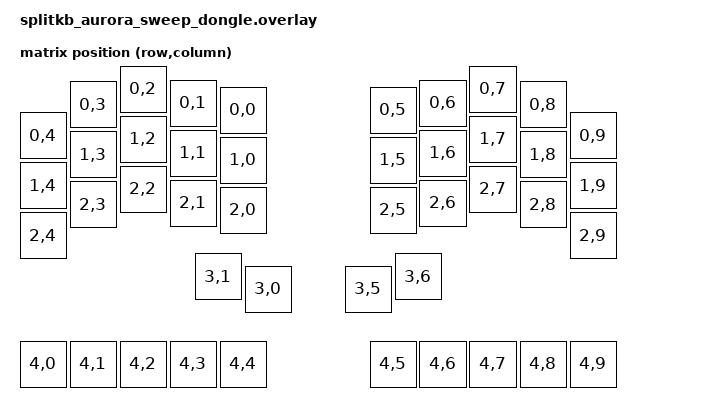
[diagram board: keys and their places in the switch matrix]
/*
 * Copyright (c) 2026 Splitkb.com
 *
 * SPDX-License-Identifier: MIT
 */

#include <physical_layouts.dtsi>
#include <dt-bindings/zmk/matrix_transform.h>

/ {
    chosen {
        zmk,kscan = &mock_kscan;
        zmk,physical-layout = &halcyon_layout;
    };

    mock_kscan: mock_kscan_0 {
        compatible = "zmk,kscan-mock";
        columns = <0>;
        rows = <0>;
        events = <0>;
    };

    halcyon_transform: keymap_transform_0 {
        compatible = "zmk,matrix-transform";
        columns = <10>;
        rows = <5>;
        map = <
        RC(0,4)  RC(0,3)  RC(0,2)  RC(0,1)  RC(0,0)  RC(0,5) RC(0,6) RC(0,7) RC(0,8) RC(0,9)
        RC(1,4)  RC(1,3)  RC(1,2)  RC(1,1)  RC(1,0)  RC(1,5) RC(1,6) RC(1,7) RC(1,8) RC(1,9)
        RC(2,4)  RC(2,3)  RC(2,2)  RC(2,1)  RC(2,0)  RC(2,5) RC(2,6) RC(2,7) RC(2,8) RC(2,9)
                                   RC(3,1)  RC(3,0)  RC(3,5) RC(3,6)

        RC(4,0)  RC(4,1)  RC(4,2)  RC(4,3)  RC(4,4)  RC(4,5) RC(4,6) RC(4,7) RC(4,8) RC(4,9)
        >;
    };

    halcyon_layout: halcyon_layout {
        compatible = "zmk,physical-layout";
        display-name = "Aurora Sweep";
        transform = <&halcyon_transform>;

        keys  //                     w   h    x    y     rot    rx    ry
            = <&key_physical_attrs 100 100    0   93       0     0     0>
            , <&key_physical_attrs 100 100  100   31       0     0     0>
            , <&key_physical_attrs 100 100  200    0       0     0     0>
            , <&key_physical_attrs 100 100  300   28       0     0     0>
            , <&key_physical_attrs 100 100  400   42       0     0     0>
            , <&key_physical_attrs 100 100  700   42       0     0     0>
            , <&key_physical_attrs 100 100  800   28       0     0     0>
            , <&key_physical_attrs 100 100  900    0       0     0     0>
            , <&key_physical_attrs 100 100 1000   31       0     0     0>
            , <&key_physical_attrs 100 100 1100   93       0     0     0>
            , <&key_physical_attrs 100 100    0  193       0     0     0>
            , <&key_physical_attrs 100 100  100  131       0     0     0>
            , <&key_physical_attrs 100 100  200  100       0     0     0>
            , <&key_physical_attrs 100 100  300  128       0     0     0>
            , <&key_physical_attrs 100 100  400  142       0     0     0>
            , <&key_physical_attrs 100 100  700  142       0     0     0>
            , <&key_physical_attrs 100 100  800  128       0     0     0>
            , <&key_physical_attrs 100 100  900  100       0     0     0>
            , <&key_physical_attrs 100 100 1000  131       0     0     0>
            , <&key_physical_attrs 100 100 1100  193       0     0     0>
            , <&key_physical_attrs 100 100    0  293       0     0     0>
            , <&key_physical_attrs 100 100  100  231       0     0     0>
            , <&key_physical_attrs 100 100  200  200       0     0     0>
            , <&key_physical_attrs 100 100  300  228       0     0     0>
            , <&key_physical_attrs 100 100  400  242       0     0     0>
            , <&key_physical_attrs 100 100  700  242       0     0     0>
            , <&key_physical_attrs 100 100  800  228       0     0     0>
            , <&key_physical_attrs 100 100  900  200       0     0     0>
            , <&key_physical_attrs 100 100 1000  231       0     0     0>
            , <&key_physical_attrs 100 100 1100  293       0     0     0>
            , <&key_physical_attrs 100 100  350  375       0     0     0>
            , <&key_physical_attrs 100 100  450  400       0     0     0>
            , <&key_physical_attrs 100 100  650  400       0     0     0>
            , <&key_physical_attrs 100 100  750  375       0     0     0>
            , <&key_physical_attrs 100 100    0  550       0     0     0>
            , <&key_physical_attrs 100 100  100  550       0     0     0>
            , <&key_physical_attrs 100 100  200  550       0     0     0>
            , <&key_physical_attrs 100 100  300  550       0     0     0>
            , <&key_physical_attrs 100 100  400  550       0     0     0>
            , <&key_physical_attrs 100 100  700  550       0     0     0>
            , <&key_physical_attrs 100 100  800  550       0     0     0>
            , <&key_physical_attrs 100 100  900  550       0     0     0>
            , <&key_physical_attrs 100 100 1000  550       0     0     0>
            , <&key_physical_attrs 100 100 1100  550       0     0     0>
            ;
    };

    left_halcyon_encoder: halcyon_encoder_left {
        status = "disabled";
    };

    right_halcyon_encoder: halcyon_encoder_right {
        status = "disabled";
    };
    
    left_encoder: left_encoder {
        status = "disabled";
    };

    right_encoder: right_encoder {
        status = "disabled";
    };

    sensors: sensors {
        compatible = "zmk,keymap-sensors";
        sensors = <&left_halcyon_encoder &right_halcyon_encoder &left_encoder &right_encoder>;
        triggers-per-rotation = <20>;
    };
};
